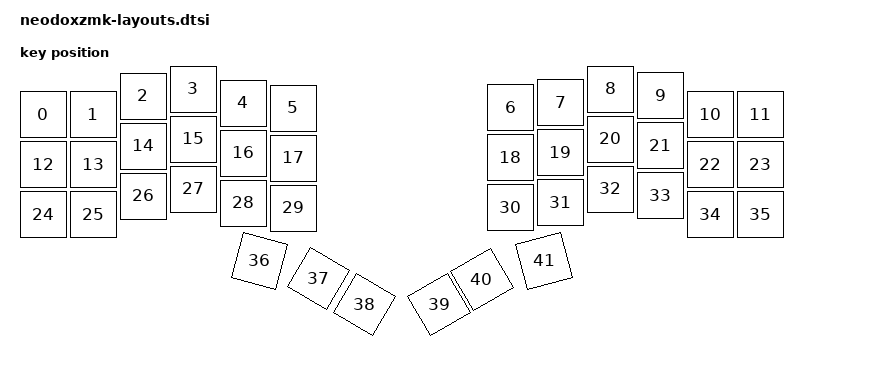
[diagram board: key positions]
// See https://zmk.dev/docs/development/hardware-integration/physical-layouts
// Key positions taken from NeodoxHW v1.1 PCB (1u = 19.05mm, rotations in centidegrees).

#include <physical_layouts.dtsi>

/ {
    default_layout: default_layout {
        compatible = "zmk,physical-layout";
        display-name = "Neodox Layout";
        transform = <&default_transform>;
        kscan = <&kscan>;

        keys
            // Row 1
        = <&key_physical_attrs 100 100    0   51       0    0    0>   // SW42 L COL6
        , <&key_physical_attrs 100 100  100   51       0    0    0>   // SW39 L COL5
        , <&key_physical_attrs 100 100  200   14       0    0    0>   // SW36 L COL4
        , <&key_physical_attrs 100 100  300    0       0    0    0>   // SW32 L COL3
        , <&key_physical_attrs 100 100  400   28       0    0    0>   // SW28 L COL2
        , <&key_physical_attrs 100 100  500   38       0    0    0>   // SW24 L COL1
        , <&key_physical_attrs 100 100  935   37       0    0    0>   // SW1  R COL1
        , <&key_physical_attrs 100 100 1035   27       0    0    0>   // SW2  R COL2
        , <&key_physical_attrs 100 100 1135    0       0    0    0>   // SW3  R COL3
        , <&key_physical_attrs 100 100 1235   13       0    0    0>   // SW4  R COL4
        , <&key_physical_attrs 100 100 1335   51       0    0    0>   // SW5  R COL5
        , <&key_physical_attrs 100 100 1435   51       0    0    0>   // SW6  R COL6
            // Row 2
        , <&key_physical_attrs 100 100    0  151       0    0    0>   // SW43 L COL6
        , <&key_physical_attrs 100 100  100  151       0    0    0>   // SW40 L COL5
        , <&key_physical_attrs 100 100  200  114       0    0    0>   // SW37 L COL4
        , <&key_physical_attrs 100 100  300  100       0    0    0>   // SW33 L COL3
        , <&key_physical_attrs 100 100  400  128       0    0    0>   // SW29 L COL2
        , <&key_physical_attrs 100 100  500  138       0    0    0>   // SW25 L COL1
        , <&key_physical_attrs 100 100  935  137       0    0    0>   // SW7  R COL1
        , <&key_physical_attrs 100 100 1035  127       0    0    0>   // SW8  R COL2
        , <&key_physical_attrs 100 100 1135  100       0    0    0>   // SW9  R COL3
        , <&key_physical_attrs 100 100 1235  113       0    0    0>   // SW10 R COL4
        , <&key_physical_attrs 100 100 1335  151       0    0    0>   // SW11 R COL5
        , <&key_physical_attrs 100 100 1435  151       0    0    0>   // SW12 R COL6
            // Row 3
        , <&key_physical_attrs 100 100    0  251       0    0    0>   // SW44 L COL6
        , <&key_physical_attrs 100 100  100  251       0    0    0>   // SW41 L COL5
        , <&key_physical_attrs 100 100  200  214       0    0    0>   // SW38 L COL4
        , <&key_physical_attrs 100 100  300  200       0    0    0>   // SW34 L COL3
        , <&key_physical_attrs 100 100  400  228       0    0    0>   // SW30 L COL2
        , <&key_physical_attrs 100 100  500  238       0    0    0>   // SW26 L COL1
        , <&key_physical_attrs 100 100  935  237       0    0    0>   // SW13 R COL1
        , <&key_physical_attrs 100 100 1035  227       0    0    0>   // SW14 R COL2
        , <&key_physical_attrs 100 100 1135  200       0    0    0>   // SW15 R COL3
        , <&key_physical_attrs 100 100 1235  213       0    0    0>   // SW16 R COL4
        , <&key_physical_attrs 100 100 1335  251       0    0    0>   // SW17 R COL5
        , <&key_physical_attrs 100 100 1435  251       0    0    0>   // SW18 R COL6
            // Row 4 (thumbs)
        , <&key_physical_attrs 100 100  433  344    1500  483  394>   // SW35 L COL3
        , <&key_physical_attrs 100 100  551  379    3000  601  429>   // SW31 L COL2
        , <&key_physical_attrs 100 100  643  431    3000  693  481>   // SW27 L COL1
        , <&key_physical_attrs 100 100  792  431 (-3000)  842  481>   // SW19 R COL1
        , <&key_physical_attrs 100 100  878  381 (-3000)  928  431>   // SW20 R COL2
        , <&key_physical_attrs 100 100 1002  344 (-1500) 1052  394>   // SW21 R COL3
            ;
    };
};
